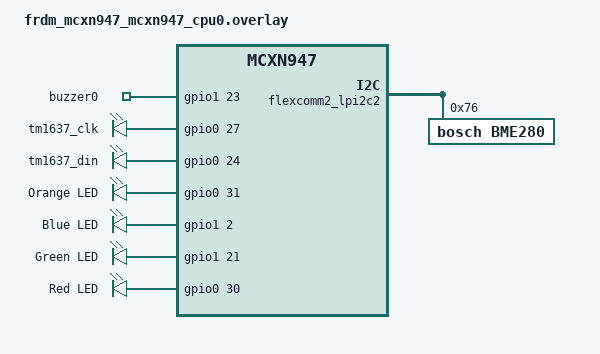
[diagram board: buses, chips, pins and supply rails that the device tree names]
/ {
	aliases {
		buzzer = &buzzer0;
		led0 = &orange_led_shield;
		led1 = &blue_led_shield;
		led2 = &green_led_shield;
		led3 = &red_led_shield;
	};
};

&flexcomm2_lpi2c2 {
	bme280@76 {
		compatible = "bosch,bme280";
		reg = <0x76>;
	};
};

/* pinout: https://codex.ac6.fr/Zephyr/xref/hal_nxp-latest/dts/nxp/mcx/MCXN947VDF-pinctrl.h */
/ {
	leds {
		compatible = "gpio-leds";

		buzzer0: buzzer0 {
			gpios = <&gpio1 23 GPIO_ACTIVE_HIGH>; // D3 - P1_23
			status = "okay";
		};
		
		tm1637_clk: tm1637_clk {
			gpios = <&gpio0 27 GPIO_ACTIVE_HIGH>; // D10 - P0_27
			label = "tm1637_clk";
			status = "okay";
		};
		
		tm1637_din: tm1637_din {
			gpios = <&gpio0 24 GPIO_ACTIVE_HIGH>; // D11 - P0_24
			label = "tm1637_din";
			status = "okay";
		};
		
		orange_led_shield: orange_led_shield {
			gpios = <&gpio0 31 GPIO_ACTIVE_HIGH>; // D7 - P0_31
			label = "Orange LED";
			status = "okay";
		};

		blue_led_shield: blue_led_shield {
			gpios = <&gpio1  2 GPIO_ACTIVE_HIGH>; // D6 - P1_2
			label = "Blue LED";
			status = "okay";
		};
		
		green_led_shield: green_led_shield {
			gpios = <&gpio1 21 GPIO_ACTIVE_HIGH>; // D5 - P1_21
			label = "Green LED";
			status = "okay";
		};
		
		red_led_shield: red_led_shield {
			gpios = <&gpio0 30 GPIO_ACTIVE_HIGH>; // D4 - P0_30
			label = "Red LED";
			status = "okay";
		};
	};
};
